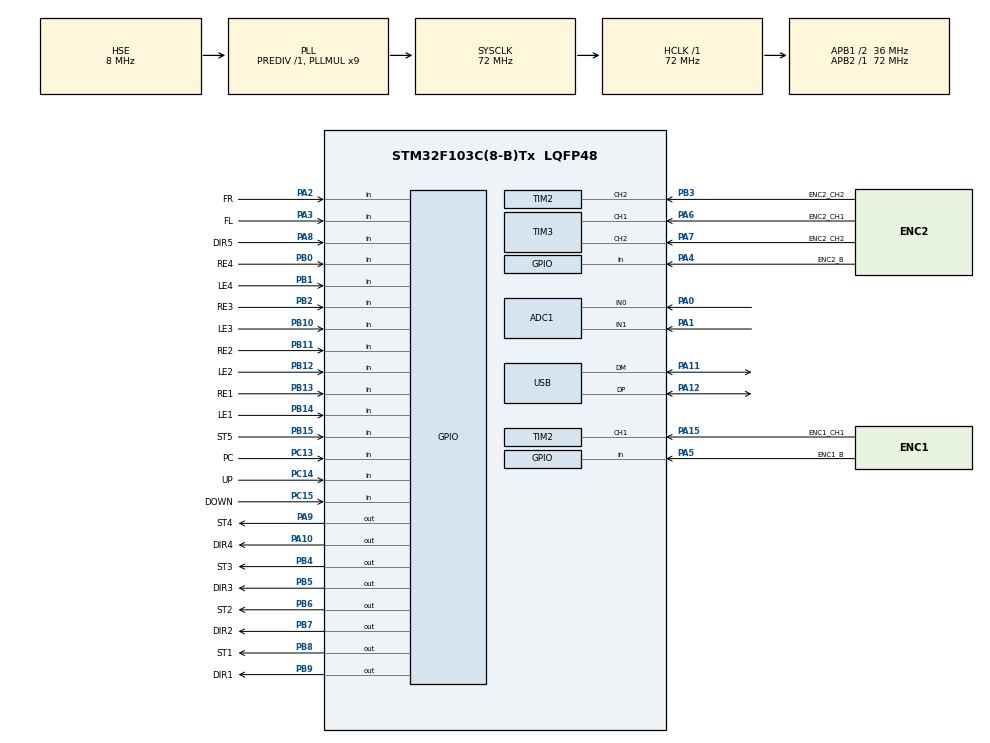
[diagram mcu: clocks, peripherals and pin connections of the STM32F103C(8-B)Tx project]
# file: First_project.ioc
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ADC1.Channel-1\#ChannelRegularConversion=ADC_CHANNEL_0
ADC1.Channel-2\#ChannelRegularConversion=ADC_CHANNEL_1
ADC1.ContinuousConvMode=ENABLE
ADC1.NbrOfConversion=2
ADC1.NbrOfConversionFlag=1
ADC1.Rank-1\#ChannelRegularConversion=1
ADC1.Rank-2\#ChannelRegularConversion=2
ADC1.SamplingTime-1\#ChannelRegularConversion=ADC_SAMPLETIME_1CYCLE_5
ADC1.SamplingTime-2\#ChannelRegularConversion=ADC_SAMPLETIME_1CYCLE_5
ADC1.master=1
Mcu.Family=STM32F1
Mcu.Name=STM32F103C(8-B)Tx
Mcu.Package=LQFP48
NVIC.PriorityGroup=NVIC_PRIORITYGROUP_4
NVIC.USB_LP_CAN1_RX0_IRQn=true\:0\:0\:false\:false\:true\:false\:true
PA0-WKUP.Signal=ADCx_IN0
PA1.Signal=ADCx_IN1
PA10.GPIO_Label=DIR4
PA10.Signal=GPIO_Output
PA11.Mode=Device
PA11.Signal=USB_DM
PA12.Mode=Device
PA12.Signal=USB_DP
PA13.Mode=Serial_Wire
PA13.Signal=SYS_JTMS-SWDIO
PA14.Mode=Serial_Wire
PA14.Signal=SYS_JTCK-SWCLK
PA15.GPIO_Label=ENC1_CH1
PA15.Signal=S_TIM2_CH1_ETR
PA2.GPIO_Label=FR
PA2.Signal=GPIO_Input
PA3.GPIO_Label=FL
PA3.Signal=GPIO_Input
PA4.GPIO_Label=ENC2_B
PA4.Signal=GPIO_Input
PA5.GPIO_Label=ENC1_B
PA5.Signal=GPIO_Input
PA6.GPIO_Label=ENC2_CH1
PA6.Signal=S_TIM3_CH1
PA7.GPIO_Label=ENC2_CH2
PA7.Signal=S_TIM3_CH2
PA8.GPIO_Label=DIR5
PA8.Signal=GPIO_Input
PA9.GPIO_Label=ST4
PA9.Signal=GPIO_Output
PB0.GPIO_Label=RE4
PB0.Signal=GPIO_Input
PB1.GPIO_Label=LE4
PB1.Signal=GPIO_Input
PB10.GPIO_Label=LE3
PB10.Signal=GPIO_Input
PB11.GPIO_Label=RE2
PB11.Signal=GPIO_Input
PB12.GPIO_Label=LE2
PB12.Signal=GPIO_Input
PB13.GPIO_Label=RE1
PB13.Signal=GPIO_Input
PB14.GPIO_Label=LE1
PB14.Signal=GPIO_Input
PB15.GPIO_Label=ST5
PB15.Signal=GPIO_Input
PB2.GPIO_Label=RE3
PB2.Signal=GPIO_Input
PB3.GPIO_Label=ENC2_CH2
PB3.Signal=S_TIM2_CH2
PB4.GPIO_Label=ST3
PB4.Signal=GPIO_Output
PB5.GPIO_Label=DIR3
PB5.Signal=GPIO_Output
PB6.GPIO_Label=ST2
PB6.Signal=GPIO_Output
PB7.GPIO_Label=DIR2
PB7.Signal=GPIO_Output
PB8.GPIO_Label=ST1
PB8.Signal=GPIO_Output
PB9.GPIO_Label=DIR1
PB9.Signal=GPIO_Output
PC13-TAMPER-RTC.GPIO_Label=PC
PC13-TAMPER-RTC.Signal=GPIO_Input
PC14-OSC32_IN.GPIO_Label=UP
PC14-OSC32_IN.Signal=GPIO_Input
PC15-OSC32_OUT.GPIO_Label=DOWN
PC15-OSC32_OUT.Signal=GPIO_Input
PD0-OSC_IN.Mode=HSE-External-Oscillator
PD0-OSC_IN.Signal=RCC_OSC_IN
PD1-OSC_OUT.Mode=HSE-External-Oscillator
PD1-OSC_OUT.Signal=RCC_OSC_OUT
ProjectManager.HeapSize=0x200
ProjectManager.StackSize=0x400
ProjectManager.TargetToolchain=MDK-ARM V5.27
RCC.ADCPresc=RCC_ADCPCLK2_DIV6
RCC.AHBFreq_Value=72000000
RCC.APB1CLKDivider=RCC_HCLK_DIV2
RCC.APB1Freq_Value=36000000
RCC.APB1TimFreq_Value=72000000
RCC.APB2Freq_Value=72000000
RCC.APB2TimFreq_Value=72000000
RCC.HCLKFreq_Value=72000000
RCC.PLLMUL=RCC_PLL_MUL9
RCC.PLLSourceVirtual=RCC_PLLSOURCE_HSE
RCC.SYSCLKFreq_VALUE=72000000
RCC.SYSCLKSource=RCC_SYSCLKSOURCE_PLLCLK
RCC.USBFreq_Value=48000000
RCC.USBPrescaler=RCC_USBCLKSOURCE_PLL_DIV1_5
SH.ADCx_IN0.0=ADC1_IN0,IN0
SH.ADCx_IN1.0=ADC1_IN1,IN1
SH.S_TIM2_CH1_ETR.0=TIM2_CH1,Encoder_Interface
SH.S_TIM2_CH2.0=TIM2_CH2,Encoder_Interface
SH.S_TIM3_CH1.0=TIM3_CH1,Encoder_Interface
SH.S_TIM3_CH2.0=TIM3_CH2,Encoder_Interface
USB_DEVICE.CLASS_NAME_FS=CDC
USB_DEVICE.VirtualMode=Cdc
USB_DEVICE.VirtualModeFS=Cdc_FS
VP_USB_DEVICE_VS_USB_DEVICE_CDC_FS.Mode=CDC_FS
board=custom

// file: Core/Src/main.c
/* USER CODE BEGIN Header */
/**
  ******************************************************************************
  * @file           : main.c
  * @brief          : Main program body
  ******************************************************************************
  * @attention
  *
  * <h2><center>&copy; Copyright (c) 2021 STMicroelectronics.
  * All rights reserved.</center></h2>
  *
  * This software component is licensed by ST under Ultimate Liberty license
  * SLA0044, the "License"; You may not use this file except in compliance with
  * the License. You may obtain a copy of the License at:
  *                             www.st.com/SLA0044
  *
  ******************************************************************************
  */

/* USER CODE END Header */
#include "main.h"
#include "adc.h"
#include "tim.h"
#include "usb_device.h"
#include "gpio.h"

/* USER CODE BEGIN Includes */
#include "usbd_cdc_if.h"
/* USER CODE END Includes */

/* USER CODE BEGIN PV */
struct Cal
{
    int32_t mean;
    int32_t diff;
};

int32_t JS[2], Cur_ENC1, Prev_ENC1, Delta_ENC1, Cur_ENC2, Prev_ENC2, Delta_ENC2;
uint32_t Spd, Nstep;
extern uint8_t buffer[64];
const uint8_t	alph[11] = "XYZPFE+-DA";
const char *ok = "OK\n";
const char *done = "DONE\n";
struct Cal JS_Cal_X, JS_Cal_Y;
/* USER CODE END PV */

void SystemClock_Config(void);

/* USER CODE BEGIN 0 */
uint32_t DWT_Delay_Init(void)
{
    /* Disable TRC */
    CoreDebug->DEMCR &= ~CoreDebug_DEMCR_TRCENA_Msk; // ~0x01000000;
    /* Enable TRC */
    CoreDebug->DEMCR |=  CoreDebug_DEMCR_TRCENA_Msk; // 0x01000000;

    /* Disable clock cycle counter */
    DWT->CTRL &= ~DWT_CTRL_CYCCNTENA_Msk; //~0x00000001;
    /* Enable  clock cycle counter */
    DWT->CTRL |=  DWT_CTRL_CYCCNTENA_Msk; //0x00000001;

    /* Reset the clock cycle counter value */
    DWT->CYCCNT = 0;

    /* 3 NO OPERATION instructions */
    __ASM volatile ("NOP");
    __ASM volatile ("NOP");
    __ASM volatile ("NOP");

    /* Check if clock cycle counter has started */
    if(DWT->CYCCNT)
    {
        return 0; /*clock cycle counter started*/
    }
    else
    {
        return 1; /*clock cycle counter not started*/
    }
}

__STATIC_INLINE void DWT_Delay_us(volatile uint32_t au32_microseconds)
{
    uint32_t au32_initial_ticks = DWT->CYCCNT;
    uint32_t au32_ticks = (HAL_RCC_GetHCLKFreq() / 1000000);
    au32_microseconds *= au32_ticks;
    while ((DWT->CYCCNT - au32_initial_ticks) < au32_microseconds-au32_ticks);
}

__STATIC_INLINE void ADC_Select_CH0 (void)
{
    ADC_ChannelConfTypeDef sConfig = {0};
    sConfig.Channel = ADC_CHANNEL_0;
    sConfig.Rank = ADC_REGULAR_RANK_1;
    sConfig.SamplingTime = ADC_SAMPLETIME_1CYCLE_5;
    if (HAL_ADC_ConfigChannel(&hadc1, &sConfig) != HAL_OK)
    {
        Error_Handler();
    }
}

__STATIC_INLINE void ADC_Select_CH1 (void)
{
    ADC_ChannelConfTypeDef sConfig = {0};
    sConfig.Channel = ADC_CHANNEL_1;
    sConfig.Rank = ADC_REGULAR_RANK_1;
    sConfig.SamplingTime = ADC_SAMPLETIME_1CYCLE_5;
    if (HAL_ADC_ConfigChannel(&hadc1, &sConfig) != HAL_OK)
    {
        Error_Handler();
    }
}

/*
char* itoa(int value, char* result, int base)
{
    char* ptr = result, *ptr1 = result, tmp_char;
    int tmp_value;
    do
    {
        tmp_value = value;
        value = value / base;
        *ptr++ = "zyxwvutsrqponmlkjihgfedcba9876543210123456789abcdefghijklmnopqrstuvwxyz" [35 + (tmp_value - value * base)];
    }
    while(value);
    if (tmp_value < 0) *ptr++ = '-';
    *ptr-- = '\0';
    while(ptr1 < ptr)
    {
        tmp_char = *ptr;
        *ptr-- = *ptr1;
        *ptr1++ = tmp_char;
    }
    return result;
}
*/

__STATIC_INLINE int32_t ADC_Read_CH0(void)
{
    int32_t res;
    ADC_Select_CH0();
    HAL_ADC_Start(&hadc1);
    HAL_ADC_PollForConversion(&hadc1, 100);
    res = HAL_ADC_GetValue(&hadc1);
    HAL_ADC_Stop(&hadc1);
    return res;
}

__STATIC_INLINE int32_t ADC_Read_CH1(void)
{
    int32_t res;
    ADC_Select_CH1();
    HAL_ADC_Start(&hadc1);
    HAL_ADC_PollForConversion(&hadc1, 100);
    res = HAL_ADC_GetValue(&hadc1);
    HAL_ADC_Stop(&hadc1);
    return res;
}

float min(float x, float y)
{
    if (x <= y)
    {
        return x;
    }
    else
    {
        return y;
    }
}

float max(float x, float y)
{
    if (x >= y)
    {
        return x;
    }
    else
    {
        return y;
    }
}

__STATIC_INLINE uint32_t power(uint8_t a, uint8_t p)
{
    uint32_t result = 1;
    for (uint8_t i=0; i<p; i++)
    {
        result = result * a;
    }
    return result;
}

__STATIC_INLINE uint32_t to_num(uint8_t cmd[64])
{
    const uint8_t num[11] = "0123456789";
    uint32_t result = 0;
    for (uint8_t i=0; i<6; i++)
    {
        for (uint8_t j=0; j<10; j++)
        {
            if (memcmp(buffer + 3 + i, num + j, 1) == 0)
            {
                result = result + power(10, 5 - i) * j;
            }
        }
    }
    return result;
}

struct Cal JS_Calibration(int CH)
{
    struct Cal res;
    int mini = 4097, maxi = 0, rn, i;
    res.mean = 0;
    if (CH == 0)
    {
        ADC_Select_CH0();
        for (i=0; i<1000; i++)
        {
            HAL_ADC_Start(&hadc1);
            HAL_ADC_PollForConversion(&hadc1, 100);
            rn = HAL_ADC_GetValue(&hadc1);
            res.mean += rn;
            mini = min(rn, mini);
            maxi = max(rn,maxi);
        }
        res.mean /= 1000;
        HAL_ADC_Stop(&hadc1);
        res.diff = max(res.mean - mini, maxi - res.mean) + 16;

    }
    else
    {
        ADC_Select_CH1();
        for (i=0; i<1000; i++)
        {
            HAL_ADC_Start(&hadc1);
            HAL_ADC_PollForConversion(&hadc1, 100);
            rn = HAL_ADC_GetValue(&hadc1);
            res.mean += rn;
            mini = min(rn, mini);
            maxi = max(rn,maxi);
        }
        res.mean /= 1000;
        HAL_ADC_Stop(&hadc1);
        res.diff = max(res.mean - mini, maxi - res.mean) + 16;

    }
    return res;
}

/* USER CODE END 0 */

int main(void)
{
    /* USER CODE BEGIN 1 */
    memset(buffer, '\0', 64);
    /* USER CODE END 1 */

    /* MCU Configuration--------------------------------------------------------*/

    /* Reset of all peripherals, Initializes the Flash interface and the Systick. */
    HAL_Init();

    /* Configure the system clock */
    SystemClock_Config();

    /* Initialize all configured peripherals */
    MX_GPIO_Init();
    MX_TIM2_Init();
    MX_TIM3_Init();
    MX_ADC1_Init();
    MX_USB_DEVICE_Init();
    /* USER CODE BEGIN 2 */
    HAL_TIM_Encoder_Start(&htim2, TIM_CHANNEL_ALL);
    Prev_ENC1 = 32767 - ((__HAL_TIM_GET_COUNTER(&htim2) - 1) & 0xFFFF);

    HAL_TIM_Encoder_Start(&htim3, TIM_CHANNEL_ALL);
    Prev_ENC2 = 32767 - ((__HAL_TIM_GET_COUNTER(&htim3) - 1) & 0xFFFF);

    DWT_Delay_Init();

    JS_Cal_X = JS_Calibration(0);
    JS_Cal_Y = JS_Calibration(1);
    /* USER CODE END 2 */

    /* Infinite loop */
    /* USER CODE BEGIN WHILE */
    if (HAL_GPIO_ReadPin(PC_GPIO_Port, PC_Pin))
    {
        while (1)
        {
            HAL_Delay(10);
            if (memcmp(alph, buffer, 1) == 0)
            {
                if (memcmp(alph + 5, buffer + 1, 1) == 0)
                {
                    if (memcmp(alph + 6, buffer + 2, 1) == 0)
                    {
                        HAL_GPIO_WritePin(DIR1_GPIO_Port, DIR1_Pin, GPIO_PIN_SET);
                        if (memcmp(alph + 8, buffer + 3, 1) == 0)
                        {
                            CDC_Transmit_FS(buffer, 64);
                            HAL_Delay(5);
                            CDC_Transmit_FS((uint8_t*) ok, strlen(ok));
                            HAL_Delay(5);
                            /*
                            while(!(HAL_GPIO_ReadPin(RE1_GPIO_Port, RE1_Pin)))
                            {
                            	HAL_GPIO_WritePin(ST1_GPIO_Port, ST1_Pin, GPIO_PIN_SET);
                            	DWT_Delay_us(100);
                            	HAL_GPIO_WritePin(ST1_GPIO_Port, ST1_Pin, GPIO_PIN_RESET);
                            	DWT_Delay_us(100);
                            }
                            */
                            CDC_Transmit_FS(buffer, 64);
                            HAL_Delay(5);
                            CDC_Transmit_FS((uint8_t*) done, strlen(done));
                            memset(buffer, '\0', 64);
                        }
                    }
                    if (memcmp(alph + 7, buffer + 2, 1) == 0)
                    {
                        HAL_GPIO_WritePin(DIR1_GPIO_Port, DIR1_Pin, GPIO_PIN_RESET);
                        if (memcmp(alph + 8, buffer + 3, 1) == 0)
                        {
                            CDC_Transmit_FS(buffer, 64);
                            HAL_Delay(5);
                            CDC_Transmit_FS((uint8_t*) ok, strlen(ok));
                            HAL_Delay(5);
                            /*
                            while(!(HAL_GPIO_ReadPin(LE1_GPIO_Port, LE1_Pin)))
                            {
                            	HAL_GPIO_WritePin(ST1_GPIO_Port, ST1_Pin, GPIO_PIN_SET);
                            	DWT_Delay_us(100);
                            	HAL_GPIO_WritePin(ST1_GPIO_Port, ST1_Pin, GPIO_PIN_RESET);
                            	DWT_Delay_us(100);
                            }
                            */
                            CDC_Transmit_FS(buffer, 64);
                            HAL_Delay(5);
                            CDC_Transmit_FS((uint8_t*) done, strlen(done));
                            memset(buffer, '\0', 64);
                        }
                    }
                }
                if (memcmp(alph + 4, buffer + 1, 1) == 0)
                {
                    if (memcmp(alph + 6, buffer + 2, 1) == 0)
                    {
                        HAL_GPIO_WritePin(DIR1_GPIO_Port, DIR1_Pin, GPIO_PIN_SET);
                        if (memcmp(alph + 8, buffer + 9, 1) == 0)
                        {
                            Nstep = to_num(buffer);
                            uint32_t k = 0;
                            CDC_Transmit_FS(buffer, 64);
                            HAL_Delay(5);
                            CDC_Transmit_FS((uint8_t*) ok, strlen(ok));
                            HAL_Delay(5);
                            while ((k < Nstep) && !(HAL_GPIO_ReadPin(RE1_GPIO_Port, RE1_Pin)))
                            {
                                HAL_GPIO_WritePin(ST1_GPIO_Port, ST1_Pin, GPIO_PIN_SET);
                                DWT_Delay_us(100);
                                HAL_GPIO_WritePin(ST1_GPIO_Port, ST1_Pin, GPIO_PIN_RESET);
                                DWT_Delay_us(100);
                                k = k + 1;
                            }
                            CDC_Transmit_FS(buffer, 64);
                            HAL_Delay(5);
                            CDC_Transmit_FS((uint8_t*) done, strlen(done));
                            memset(buffer, '\0', 64);
                        }
                    }
                    if (memcmp(alph + 7, buffer + 2, 1) == 0)
                    {
                        HAL_GPIO_WritePin(DIR1_GPIO_Port, DIR1_Pin, GPIO_PIN_RESET);
                        if (memcmp(alph + 8, buffer + 9, 1) == 0)
                        {
                            Nstep = to_num(buffer);
                            uint32_t k = 0;
                            CDC_Transmit_FS(buffer, 64);
                            HAL_Delay(5);
                            CDC_Transmit_FS((uint8_t*) ok, strlen(ok));
                            HAL_Delay(5);
                            while ((k < Nstep) && !(HAL_GPIO_ReadPin(LE1_GPIO_Port, LE1_Pin)))
                            {
                                HAL_GPIO_WritePin(ST1_GPIO_Port, ST1_Pin, GPIO_PIN_SET);
                                DWT_Delay_us(100);
                                HAL_GPIO_WritePin(ST1_GPIO_Port, ST1_Pin, GPIO_PIN_RESET);
                                DWT_Delay_us(100);
                                k = k + 1;
                            }
                            CDC_Transmit_FS(buffer, 64);
                            HAL_Delay(5);
                            CDC_Transmit_FS((uint8_t*) done, strlen(done));
                            memset(buffer, '\0', 64);
                        }
                    }
                }
            }
            if (memcmp(alph + 1, buffer, 1) == 0)
            {
                if (memcmp(alph + 5, buffer + 1, 1) == 0)
                {
                    if (memcmp(alph + 6, buffer + 2, 1) == 0)
                    {
                        HAL_GPIO_WritePin(DIR2_GPIO_Port, DIR2_Pin, GPIO_PIN_SET);
                        if (memcmp(alph + 8, buffer + 3, 1) == 0)
                        {
                            CDC_Transmit_FS(buffer, 64);
                            HAL_Delay(5);
                            CDC_Transmit_FS((uint8_t*) ok, strlen(ok));
                            HAL_Delay(5);
                            /*
                            while(!(HAL_GPIO_ReadPin(RE2_GPIO_Port, RE2_Pin)))
                            {
                            	HAL_GPIO_WritePin(ST2_GPIO_Port, ST2_Pin, GPIO_PIN_SET);
                            	DWT_Delay_us(200);
                            	HAL_GPIO_WritePin(ST2_GPIO_Port, ST2_Pin, GPIO_PIN_RESET);
                            	DWT_Delay_us(200);
                            }
                            */
                            CDC_Transmit_FS(buffer, 64);
                            HAL_Delay(5);
                            CDC_Transmit_FS((uint8_t*) done, strlen(done));
                            memset(buffer, '\0', 64);
                        }
                    }
                    if (memcmp(alph + 7, buffer + 2, 1) == 0)
                    {
                        HAL_GPIO_WritePin(DIR2_GPIO_Port, DIR2_Pin, GPIO_PIN_RESET);
                        if (memcmp(alph + 8, buffer + 3, 1) == 0)
                        {
                            CDC_Transmit_FS(buffer, 64);
                            HAL_Delay(5);
                            CDC_Transmit_FS((uint8_t*) ok, strlen(ok));
                            HAL_Delay(5);
                            /*
                            while(!(HAL_GPIO_ReadPin(LE2_GPIO_Port, LE2_Pin)))
                            {
                            	HAL_GPIO_WritePin(ST2_GPIO_Port, ST2_Pin, GPIO_PIN_SET);
                            	DWT_Delay_us(200);
                            	HAL_GPIO_WritePin(ST2_GPIO_Port, ST2_Pin, GPIO_PIN_RESET);
                            	DWT_Delay_us(200);
                            }
                            */
                            CDC_Transmit_FS(buffer, 64);
                            HAL_Delay(5);
                            CDC_Transmit_FS((uint8_t*) done, strlen(done));
                            memset(buffer, '\0', 64);
                        }
                    }
                }
                if (memcmp(alph + 4, buffer + 1, 1) == 0)
                {
                    if (memcmp(alph + 6, buffer + 2, 1) == 0)
                    {
                        HAL_GPIO_WritePin(DIR2_GPIO_Port, DIR2_Pin, GPIO_PIN_SET);
                        if (memcmp(alph + 8, buffer + 9, 1) == 0)
                        {
                            Nstep = to_num(buffer);
                            uint32_t k = 0;
                            CDC_Transmit_FS(buffer, 64);
                            HAL_Delay(5);
                            CDC_Transmit_FS((uint8_t*) ok, strlen(ok));
                            HAL_Delay(5);
                            while ((k < Nstep) && !(HAL_GPIO_ReadPin(RE2_GPIO_Port, RE2_Pin)))
                            {
                                HAL_GPIO_WritePin(ST2_GPIO_Port, ST2_Pin, GPIO_PIN_SET);
                                DWT_Delay_us(200);
                                HAL_GPIO_WritePin(ST2_GPIO_Port, ST2_Pin, GPIO_PIN_RESET);
                                DWT_Delay_us(200);
                                k = k + 1;
                            }
                            CDC_Transmit_FS(buffer, 64);
                            HAL_Delay(5);
                            CDC_Transmit_FS((uint8_t*) done, strlen(done));
                            memset(buffer, '\0', 64);
                        }
                    }
                    if (memcmp(alph + 7, buffer + 2, 1) == 0)
                    {
                        HAL_GPIO_WritePin(DIR2_GPIO_Port, DIR2_Pin, GPIO_PIN_RESET);
                        if (memcmp(alph + 8, buffer + 9, 1) == 0)
                        {
                            Nstep = to_num(buffer);
                            uint32_t k = 0;
                            CDC_Transmit_FS(buffer, 64);
                            HAL_Delay(5);
                            CDC_Transmit_FS((uint8_t*) ok, strlen(ok));
                            HAL_Delay(5);
                            while ((k < Nstep) && !(HAL_GPIO_ReadPin(LE2_GPIO_Port, LE2_Pin)))
                            {
                                HAL_GPIO_WritePin(ST2_GPIO_Port, ST2_Pin, GPIO_PIN_SET);
                                DWT_Delay_us(200);
                                HAL_GPIO_WritePin(ST2_GPIO_Port, ST2_Pin, GPIO_PIN_RESET);
                                DWT_Delay_us(200);
                                k = k + 1;
                            }
                            CDC_Transmit_FS(buffer, 64);
                            HAL_Delay(5);
                            CDC_Transmit_FS((uint8_t*) done, strlen(done));
                            memset(buffer, '\0', 64);
                        }
                    }
                }
            }

            if (memcmp(alph + 2, buffer, 1) == 0)
            {
                if (memcmp(alph + 5, buffer + 1, 1) == 0)
                {
                    if (memcmp(alph + 6, buffer + 2, 1) == 0)
                    {
                        HAL_GPIO_WritePin(DIR3_GPIO_Port, DIR3_Pin, GPIO_PIN_SET);
                        if (memcmp(alph + 8, buffer + 3, 1) == 0)
                        {
                            CDC_Transmit_FS(buffer, 64);
                            HAL_Delay(5);
                            CDC_Transmit_FS((uint8_t*) ok, strlen(ok));
                            HAL_Delay(5);
                            /*
                            while(!(HAL_GPIO_ReadPin(RE3_GPIO_Port, RE3_Pin)))
                            {
                            	HAL_GPIO_WritePin(ST3_GPIO_Port, ST3_Pin, GPIO_PIN_SET);
                            	DWT_Delay_us(200);
                            	HAL_GPIO_WritePin(ST3_GPIO_Port, ST3_Pin, GPIO_PIN_RESET);
                            	DWT_Delay_us(200);
                            }
                            */
                            CDC_Transmit_FS(buffer, 64);
                            HAL_Delay(5);
                            CDC_Transmit_FS((uint8_t*) done, strlen(done));
                            memset(buffer, '\0', 64);
                        }
                    }
                    if (memcmp(alph + 7, buffer + 2, 1) == 0)
                    {
                        HAL_GPIO_WritePin(DIR3_GPIO_Port, DIR3_Pin, GPIO_PIN_RESET);
                        if (memcmp(alph + 8, buffer + 3, 1) == 0)
                        {
                            CDC_Transmit_FS(buffer, 64);
                            HAL_Delay(5);
                            CDC_Transmit_FS((uint8_t*) ok, strlen(ok));
                            HAL_Delay(5);
                            /*
                            while(!(HAL_GPIO_ReadPin(LE3_GPIO_Port, LE3_Pin)))
                            {
                            	HAL_GPIO_WritePin(ST3_GPIO_Port, ST3_Pin, GPIO_PIN_SET);
                            	DWT_Delay_us(200);
                            	HAL_GPIO_WritePin(ST3_GPIO_Port, ST3_Pin, GPIO_PIN_RESET);
                            	DWT_Delay_us(200);
                            }
                            */
                            CDC_Transmit_FS(buffer, 64);
                            HAL_Delay(5);
                            CDC_Transmit_FS((uint8_t*) done, strlen(done));
                            memset(buffer, '\0', 64);
                        }
                    }
                }
                if (memcmp(alph + 4, buffer + 1, 1) == 0)
                {
                    if (memcmp(alph + 6, buffer + 2, 1) == 0)
                    {
                        HAL_GPIO_WritePin(DIR3_GPIO_Port, DIR3_Pin, GPIO_PIN_SET);
                        if (memcmp(alph + 8, buffer + 9, 1) == 0)
                        {
                            Nstep = to_num(buffer);
                            uint32_t k = 0;
                            CDC_Transmit_FS(buffer, 64);
                            HAL_Delay(5);
                            CDC_Transmit_FS((uint8_t*) ok, strlen(ok));
                            HAL_Delay(5);
                            while ((k < Nstep) && !(HAL_GPIO_ReadPin(RE3_GPIO_Port, RE3_Pin)))
                            {
                                HAL_GPIO_WritePin(ST3_GPIO_Port, ST3_Pin, GPIO_PIN_SET);
                                DWT_Delay_us(200);
                                HAL_GPIO_WritePin(ST3_GPIO_Port, ST3_Pin, GPIO_PIN_RESET);
                                DWT_Delay_us(200);
                                k = k + 1;
                            }
                            CDC_Transmit_FS(buffer, 64);
                            HAL_Delay(5);
                            CDC_Transmit_FS((uint8_t*) done, strlen(done));
                            memset(buffer, '\0', 64);
                        }
                    }
                    if (memcmp(alph + 7, buffer + 2, 1) == 0)
                    {
                        HAL_GPIO_WritePin(DIR3_GPIO_Port, DIR3_Pin, GPIO_PIN_RESET);
                        if (memcmp(alph + 8, buffer + 9, 1) == 0)
                        {
                            Nstep = to_num(buffer);
                            uint32_t k = 0;
                            CDC_Transmit_FS(buffer, 64);
                            HAL_Delay(5);
                            CDC_Transmit_FS((uint8_t*) ok, strlen(ok));
                            HAL_Delay(5);
                            while ((k < Nstep) && !(HAL_GPIO_ReadPin(LE3_GPIO_Port, LE3_Pin)))
                            {
                                HAL_GPIO_WritePin(ST3_GPIO_Port, ST3_Pin, GPIO_PIN_SET);
                                DWT_Delay_us(200);
                                HAL_GPIO_WritePin(ST3_GPIO_Port, ST3_Pin, GPIO_PIN_RESET);
                                DWT_Delay_us(200);
                                k = k + 1;
                            }
                            CDC_Transmit_FS(buffer, 64);
                            HAL_Delay(5);
                            CDC_Transmit_FS((uint8_t*) done, strlen(done));
                            memset(buffer, '\0', 64);
                        }
                    }
                }
            }
            if (memcmp(alph + 3, buffer, 1) == 0)
            {
                if (memcmp(alph + 4, buffer + 1, 1) == 0)
                {
                    if (memcmp(alph + 6, buffer + 2, 1) == 0)
                    {
                        HAL_GPIO_WritePin(DIR4_GPIO_Port, DIR4_Pin, GPIO_PIN_SET);
                        if (memcmp(alph + 8, buffer + 9, 1) == 0)
                        {
                            Nstep = to_num(buffer);
                            uint32_t k = 0;
                            CDC_Transmit_FS(buffer, 64);
                            HAL_Delay(5);
                            CDC_Transmit_FS((uint8_t*) ok, strlen(ok));
                            HAL_Delay(5);
                            while (k < Nstep)
                            {
                                HAL_GPIO_WritePin(ST4_GPIO_Port, ST4_Pin, GPIO_PIN_SET);
                                DWT_Delay_us(100);
                                HAL_GPIO_WritePin(ST4_GPIO_Port, ST4_Pin, GPIO_PIN_RESET);
                                DWT_Delay_us(100);
                                k = k + 1;
                            }
                            CDC_Transmit_FS(buffer, 64);
                            HAL_Delay(5);
                            CDC_Transmit_FS((uint8_t*) done, strlen(done));
                            memset(buffer, '\0', 64);
                        }
                    }
                    if (memcmp(alph + 7, buffer + 2, 1) == 0)
                    {
                        HAL_GPIO_WritePin(DIR4_GPIO_Port, DIR4_Pin, GPIO_PIN_RESET);
                        if (memcmp(alph + 8, buffer + 9, 1) == 0)
                        {
                            Nstep = to_num(buffer);
                            uint32_t k = 0;
                            CDC_Transmit_FS(buffer, 64);
                            HAL_Delay(5);
                            CDC_Transmit_FS((uint8_t*) ok, strlen(ok));
                            HAL_Delay(5);
                            while (k < Nstep)
                            {
                                HAL_GPIO_WritePin(ST4_GPIO_Port, ST4_Pin, GPIO_PIN_SET);
                                DWT_Delay_us(100);
                                HAL_GPIO_WritePin(ST4_GPIO_Port, ST4_Pin, GPIO_PIN_RESET);
                                DWT_Delay_us(100);
                                k = k + 1;
                            }
                            CDC_Transmit_FS(buffer, 64);
                            HAL_Delay(5);
                            CDC_Transmit_FS((uint8_t*) done, strlen(done));
                            memset(buffer, '\0', 64);
                        }
                    }
                }
            }

						            if (memcmp(alph + 9, buffer, 1) == 0)
            {
                if (memcmp(alph + 5, buffer + 1, 1) == 0)
                {
                    if (memcmp(alph + 6, buffer + 2, 1) == 0)
                    {
                        HAL_GPIO_WritePin(DIR5_GPIO_Port, DIR5_Pin, GPIO_PIN_SET);
                        if (memcmp(alph + 8, buffer + 3, 1) == 0)
                        {
                            CDC_Transmit_FS(buffer, 64);
                            HAL_Delay(5);
                            CDC_Transmit_FS((uint8_t*) ok, strlen(ok));
                            HAL_Delay(5);
                            /*
                            while(!(HAL_GPIO_ReadPin(RE4_GPIO_Port, RE4_Pin)))
                            {
                            	HAL_GPIO_WritePin(ST5_GPIO_Port, ST5_Pin, GPIO_PIN_SET);
                            	DWT_Delay_us(200);
                            	HAL_GPIO_WritePin(ST5_GPIO_Port, ST5_Pin, GPIO_PIN_RESET);
                            	DWT_Delay_us(200);
                            }
                            */
                            CDC_Transmit_FS(buffer, 64);
                            HAL_Delay(5);
                            CDC_Transmit_FS((uint8_t*) done, strlen(done));
                            memset(buffer, '\0', 64);
                        }
                    }
                    if (memcmp(alph + 7, buffer + 2, 1) == 0)
                    {
                        HAL_GPIO_WritePin(DIR5_GPIO_Port, DIR5_Pin, GPIO_PIN_RESET);
                        if (memcmp(alph + 8, buffer + 3, 1) == 0)
                        {
                            CDC_Transmit_FS(buffer, 64);
                            HAL_Delay(5);
                            CDC_Transmit_FS((uint8_t*) ok, strlen(ok));
                            HAL_Delay(5);
                            /*
                            while(!(HAL_GPIO_ReadPin(LE4_GPIO_Port, LE4_Pin)))
                            {
                            	HAL_GPIO_WritePin(ST5_GPIO_Port, ST5_Pin, GPIO_PIN_SET);
                            	DWT_Delay_us(200);
                            	HAL_GPIO_WritePin(ST5_GPIO_Port, ST5_Pin, GPIO_PIN_RESET);
                            	DWT_Delay_us(200);
                            }
                            */
                            CDC_Transmit_FS(buffer, 64);
                            HAL_Delay(5);
                            CDC_Transmit_FS((uint8_t*) done, strlen(done));
                            memset(buffer, '\0', 64);
                        }
                    }
                }
                if (memcmp(alph + 4, buffer + 1, 1) == 0)
                {
                    if (memcmp(alph + 6, buffer + 2, 1) == 0)
                    {
                        HAL_GPIO_WritePin(DIR5_GPIO_Port, DIR5_Pin, GPIO_PIN_SET);
                        if (memcmp(alph + 8, buffer + 9, 1) == 0)
                        {
                            Nstep = to_num(buffer);
                            uint32_t k = 0;
                            CDC_Transmit_FS(buffer, 64);
                            HAL_Delay(5);
                            CDC_Transmit_FS((uint8_t*) ok, strlen(ok));
                            HAL_Delay(5);
                            while ((k < Nstep) && !(HAL_GPIO_ReadPin(RE4_GPIO_Port, RE4_Pin)))
                            {
                                HAL_GPIO_WritePin(ST5_GPIO_Port, ST5_Pin, GPIO_PIN_SET);
                                DWT_Delay_us(200);
                                HAL_GPIO_WritePin(ST5_GPIO_Port, ST5_Pin, GPIO_PIN_RESET);
                                DWT_Delay_us(200);
                                k = k + 1;
                            }
                            CDC_Transmit_FS(buffer, 64);
                            HAL_Delay(5);
                            CDC_Transmit_FS((uint8_t*) done, strlen(done));
                            memset(buffer, '\0', 64);
                        }
                    }
                    if (memcmp(alph + 7, buffer + 2, 1) == 0)
                    {
                        HAL_GPIO_WritePin(DIR5_GPIO_Port, DIR5_Pin, GPIO_PIN_RESET);
                        if (memcmp(alph + 8, buffer + 9, 1) == 0)
                        {
                            Nstep = to_num(buffer);
                            uint32_t k = 0;
                            CDC_Transmit_FS(buffer, 64);
                            HAL_Delay(5);
                            CDC_Transmit_FS((uint8_t*) ok, strlen(ok));
                            HAL_Delay(5);
                            while ((k < Nstep) && !(HAL_GPIO_ReadPin(LE4_GPIO_Port, LE4_Pin)))
                            {
                                HAL_GPIO_WritePin(ST5_GPIO_Port, ST5_Pin, GPIO_PIN_SET);
                                DWT_Delay_us(200);
                                HAL_GPIO_WritePin(ST5_GPIO_Port, ST5_Pin, GPIO_PIN_RESET);
                                DWT_Delay_us(200);
                                k = k + 1;
                            }
                            CDC_Transmit_FS(buffer, 64);
                            HAL_Delay(5);
                            CDC_Transmit_FS((uint8_t*) done, strlen(done));
                            memset(buffer, '\0', 64);
                        }
                    }
                }
            }

        }
    }
    else
    {
        while (1)
        {

            //XY
            JS[0] = ADC_Read_CH0() - JS_Cal_X.mean;
            JS[1] = ADC_Read_CH1() - JS_Cal_Y.mean;
            if (abs(JS[0]) > JS_Cal_X.diff)
            {
                if ((JS[0] > 0) && !(HAL_GPIO_ReadPin(RE1_GPIO_Port, RE1_Pin)))
                {
                    HAL_GPIO_WritePin(DIR1_GPIO_Port, DIR1_Pin, GPIO_PIN_SET);
                    Spd = (uint32_t) (1300 - 1280 * JS[0] / 2048);
                    HAL_GPIO_WritePin(ST1_GPIO_Port, ST1_Pin, GPIO_PIN_SET);
                    DWT_Delay_us(Spd);
                    HAL_GPIO_WritePin(ST1_GPIO_Port, ST1_Pin, GPIO_PIN_RESET);
                    DWT_Delay_us(Spd);
                }
                else if (!(HAL_GPIO_ReadPin(LE1_GPIO_Port, LE1_Pin)))
                {
                    HAL_GPIO_WritePin(DIR1_GPIO_Port, DIR1_Pin, GPIO_PIN_RESET);
                    Spd = (uint32_t) (1300 + 1280 * JS[0] / 2048);
                    HAL_GPIO_WritePin(ST1_GPIO_Port, ST1_Pin, GPIO_PIN_SET);
                    DWT_Delay_us(Spd);
                    HAL_GPIO_WritePin(ST1_GPIO_Port, ST1_Pin, GPIO_PIN_RESET);
                    DWT_Delay_us(Spd);
                }
            }
            if (abs(JS[1]) > JS_Cal_Y.diff)
            {
                if ((JS[1] > 0) && !(HAL_GPIO_ReadPin(RE2_GPIO_Port, RE2_Pin)))
                {
                    HAL_GPIO_WritePin(DIR2_GPIO_Port, DIR2_Pin, GPIO_PIN_SET);
                    Spd = (uint32_t) (2500 - 2300 * JS[1] / 2048);
                    HAL_GPIO_WritePin(ST2_GPIO_Port, ST2_Pin, GPIO_PIN_SET);
                    DWT_Delay_us(Spd);
                    HAL_GPIO_WritePin(ST2_GPIO_Port, ST2_Pin, GPIO_PIN_RESET);
                    DWT_Delay_us(Spd);
                }
                else if (!(HAL_GPIO_ReadPin(LE2_GPIO_Port, LE2_Pin)))
                {
                    HAL_GPIO_WritePin(DIR2_GPIO_Port, DIR2_Pin, GPIO_PIN_RESET);
                    Spd = (uint32_t) (2500 + 2300 * JS[1] / 2048);
                    HAL_GPIO_WritePin(ST2_GPIO_Port, ST2_Pin, GPIO_PIN_SET);
                    DWT_Delay_us(Spd);
                    HAL_GPIO_WritePin(ST2_GPIO_Port, ST2_Pin, GPIO_PIN_RESET);
                    DWT_Delay_us(Spd);
                }
            }

            //Z
            Cur_ENC1 = 32767 - ((__HAL_TIM_GET_COUNTER(&htim2) - 1) & 0xFFFF);
            if (Cur_ENC1 > 16384)
            {
                Cur_ENC1 = Cur_ENC1 - 32768;
            }
            if (Cur_ENC1 != Prev_ENC1)
            {
                Delta_ENC1 = Cur_ENC1 - Prev_ENC1;
                if (Delta_ENC1 > 0)
                {
                    HAL_GPIO_WritePin(DIR3_GPIO_Port, DIR3_Pin, GPIO_PIN_SET);
                    uint8_t j = 0;
                    while((j < 4) && !(HAL_GPIO_ReadPin(RE3_GPIO_Port, RE3_Pin)))
                    {
                        HAL_GPIO_WritePin(ST3_GPIO_Port, ST3_Pin, GPIO_PIN_SET);
                        DWT_Delay_us(100);
                        HAL_GPIO_WritePin(ST3_GPIO_Port, ST3_Pin, GPIO_PIN_RESET);
                        DWT_Delay_us(100);
                        j = j + 1;
                    }
                }
                if (Delta_ENC1 < 0)
                {
                    HAL_GPIO_WritePin(DIR3_GPIO_Port, DIR3_Pin, GPIO_PIN_RESET);
                    uint8_t j = 0;
                    while((j < 4) && !(HAL_GPIO_ReadPin(LE3_GPIO_Port, LE3_Pin)))
                    {
                        HAL_GPIO_WritePin(ST3_GPIO_Port, ST3_Pin, GPIO_PIN_SET);
                        DWT_Delay_us(100);
                        HAL_GPIO_WritePin(ST3_GPIO_Port, ST3_Pin, GPIO_PIN_RESET);
                        DWT_Delay_us(100);
                        j = j + 1;
                    }
                }
            }
            Prev_ENC1 = Cur_ENC1;

            Cur_ENC2 = 32767 - ((__HAL_TIM_GET_COUNTER(&htim3) - 1) & 0xFFFF);

            //PHI
            if (HAL_GPIO_ReadPin(F_GPIO_Port, F_Pin))
            {
                if (Cur_ENC2 > 16384)
                {
                    Cur_ENC2 = Cur_ENC2 - 32768;
                }
                if (Cur_ENC2 != Prev_ENC2)
                {
                    Delta_ENC2 = Cur_ENC2 - Prev_ENC2;
                    if (Delta_ENC2 > 0)
                    {
                        HAL_GPIO_WritePin(DIR4_GPIO_Port, DIR4_Pin, GPIO_PIN_SET);
                        uint8_t j = 0;
                        while(j < 4)
                        {
                            HAL_GPIO_WritePin(ST4_GPIO_Port, ST4_Pin, GPIO_PIN_SET);
                            DWT_Delay_us(200);
                            HAL_GPIO_WritePin(ST4_GPIO_Port, ST4_Pin, GPIO_PIN_RESET);
                            DWT_Delay_us(200);
                            j = j + 1;
                        }
                    }
                    if (Delta_ENC2 < 0)
                    {
                        HAL_GPIO_WritePin(DIR4_GPIO_Port, DIR4_Pin, GPIO_PIN_RESET);
                        uint8_t j = 0;
                        while(j < 4)
                        {
                            HAL_GPIO_WritePin(ST4_GPIO_Port, ST4_Pin, GPIO_PIN_SET);
                            DWT_Delay_us(200);
                            HAL_GPIO_WritePin(ST4_GPIO_Port, ST4_Pin, GPIO_PIN_RESET);
                            DWT_Delay_us(200);
                            j = j + 1;
                        }
                    }
                }
            }

            //FOCUS

            else
            {
                if (Cur_ENC2 > 16384)
                {
                    Cur_ENC2 = Cur_ENC2 - 32768;
                }
                if (Cur_ENC2 != Prev_ENC2)
                {
                    Delta_ENC2 = Cur_ENC2 - Prev_ENC2;
                    if (Delta_ENC2 > 0)
                    {
                        HAL_GPIO_WritePin(DIR5_GPIO_Port, DIR5_Pin, GPIO_PIN_SET);
                        uint8_t j = 0;
                        while((j < 4) && !(HAL_GPIO_ReadPin(RE4_GPIO_Port, RE4_Pin)))
                        {
                            HAL_GPIO_WritePin(ST5_GPIO_Port, ST5_Pin, GPIO_PIN_SET);
                            DWT_Delay_us(200);
                            HAL_GPIO_WritePin(ST5_GPIO_Port, ST5_Pin, GPIO_PIN_RESET);
                            DWT_Delay_us(200);
                            j = j + 1;
                        }

                    }
                    if (Delta_ENC2 < 0)
                    {
                        HAL_GPIO_WritePin(DIR5_GPIO_Port, DIR5_Pin, GPIO_PIN_RESET);
                        uint8_t j = 0;
                        while((j < 4) && !(HAL_GPIO_ReadPin(RE4_GPIO_Port, RE4_Pin)))
                        {
                            HAL_GPIO_WritePin(ST5_GPIO_Port, ST5_Pin, GPIO_PIN_SET);
                            DWT_Delay_us(200);
                            HAL_GPIO_WritePin(ST5_GPIO_Port, ST5_Pin, GPIO_PIN_RESET);
                            DWT_Delay_us(200);
                            j = j + 1;
                        }

                    }
                }
            }

            Prev_ENC2 = Cur_ENC2;
            /* USER CODE END WHILE */

        }
    }
}

void SystemClock_Config(void)
{
    RCC_OscInitTypeDef RCC_OscInitStruct = {0};
    RCC_ClkInitTypeDef RCC_ClkInitStruct = {0};
    RCC_PeriphCLKInitTypeDef PeriphClkInit = {0};

    /** Initializes the RCC Oscillators according to the specified parameters
    * in the RCC_OscInitTypeDef structure.
    */
    RCC_OscInitStruct.OscillatorType = RCC_OSCILLATORTYPE_HSE;
    RCC_OscInitStruct.HSEState = RCC_HSE_ON;
    RCC_OscInitStruct.HSEPredivValue = RCC_HSE_PREDIV_DIV1;
    RCC_OscInitStruct.HSIState = RCC_HSI_ON;
    RCC_OscInitStruct.PLL.PLLState = RCC_PLL_ON;
    RCC_OscInitStruct.PLL.PLLSource = RCC_PLLSOURCE_HSE;
    RCC_OscInitStruct.PLL.PLLMUL = RCC_PLL_MUL9;
    if (HAL_RCC_OscConfig(&RCC_OscInitStruct) != HAL_OK)
    {
        Error_Handler();
    }
    /** Initializes the CPU, AHB and APB buses clocks
    */
    RCC_ClkInitStruct.ClockType = RCC_CLOCKTYPE_HCLK|RCC_CLOCKTYPE_SYSCLK
                                  |RCC_CLOCKTYPE_PCLK1|RCC_CLOCKTYPE_PCLK2;
    RCC_ClkInitStruct.SYSCLKSource = RCC_SYSCLKSOURCE_PLLCLK;
    RCC_ClkInitStruct.AHBCLKDivider = RCC_SYSCLK_DIV1;
    RCC_ClkInitStruct.APB1CLKDivider = RCC_HCLK_DIV2;
    RCC_ClkInitStruct.APB2CLKDivider = RCC_HCLK_DIV1;

    if (HAL_RCC_ClockConfig(&RCC_ClkInitStruct, FLASH_LATENCY_2) != HAL_OK)
    {
        Error_Handler();
    }
    PeriphClkInit.PeriphClockSelection = RCC_PERIPHCLK_ADC|RCC_PERIPHCLK_USB;
    PeriphClkInit.AdcClockSelection = RCC_ADCPCLK2_DIV6;
    PeriphClkInit.UsbClockSelection = RCC_USBCLKSOURCE_PLL_DIV1_5;
    if (HAL_RCCEx_PeriphCLKConfig(&PeriphClkInit) != HAL_OK)
    {
        Error_Handler();
    }
}

void Error_Handler(void)
{
    __disable_irq();
    while (1)
    {
    }
}

/************************ (C) COPYRIGHT STMicroelectronics *****END OF FILE****/
